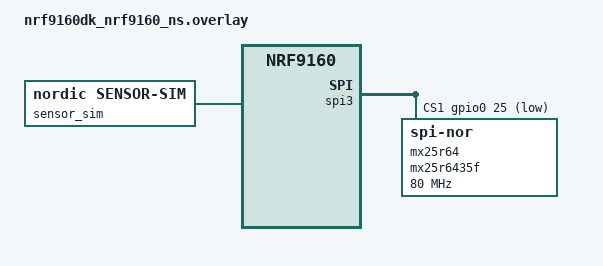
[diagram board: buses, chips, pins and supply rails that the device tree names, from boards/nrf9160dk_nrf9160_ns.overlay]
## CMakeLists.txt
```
#
# Copyright (c) 2018 Nordic Semiconductor
#
# SPDX-License-Identifier: LicenseRef-Nordic-5-Clause
#

cmake_minimum_required(VERSION 3.20.0)

find_package(Zephyr REQUIRED HINTS $ENV{ZEPHYR_BASE})
project(lwm2m_client)

# NORDIC SDK APP START
target_sources(app PRIVATE src/main.c)
target_sources_ifdef(CONFIG_SHELL app PRIVATE src/shell.c)
zephyr_include_directories(src)
# NORDIC SDK APP END

# Include application events and configuration headers
zephyr_library_include_directories(
  src/lwm2m
  src/ui
  src/ipso
  src/events
  src/sensors
  src/modules
)

# Application sources
add_subdirectory(src/lwm2m)
add_subdirectory(src/ui)
add_subdirectory(src/ipso)
add_subdirectory(src/events)
add_subdirectory(src/sensors)
add_subdirectory(src/modules)
add_subdirectory(src/fota_external)
```

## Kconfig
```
#
# Copyright (c) 2018 Nordic Semiconductor ASA
#
# SPDX-License-Identifier: LicenseRef-Nordic-5-Clause
#

menu "Application sample"

rsource "src/ui/Kconfig"
rsource "src/modules/Kconfig"
rsource "src/lwm2m/Kconfig"
rsource "src/fota_external/Kconfig"
menu "LwM2M objects"
config APP_PUSH_BUTTON
	bool "Enable button(s)"
	select UI_INPUT
	select LWM2M_IPSO_PUSH_BUTTON
	select LWM2M_APP_PUSH_BUTTON


config APP_ONOFF_SWITCH
	bool "Enable switches"
	depends on BOARD_NRF9160DK_NRF9160_NS
	select UI_INPUT
	select LWM2M_IPSO_ONOFF_SWITCH
	select LWM2M_APP_ONOFF_SWITCH


menuconfig APP_LIGHT_CONTROL
	bool "Enable LED(s)"
	select UI_LED
	select LWM2M_IPSO_LIGHT_CONTROL
	select LWM2M_APP_LIGHT_CONTROL

if APP_LIGHT_CONTROL
	rsource "src/ui/Kconfig.ui_led"
endif # APP_LIGHT_CONTROL


menuconfig APP_BUZZER
	bool "Enable buzzer"
	depends on BOARD_THINGY91_NRF9160_NS
	select UI_BUZZER
	select LWM2M_APP_BUZZER


menuconfig APP_LIGHT_SENSOR
	bool "Enable light sensor"
	select LIGHT_SENSOR
	select LWM2M_IPSO_APP_COLOUR_SENSOR
	select LWM2M_APP_LIGHT_SENSOR

if APP_LIGHT_SENSOR
	rsource "src/sensors/Kconfig.light_sensor"
	rsource "src/ipso/Kconfig.ipso_colour_sensor"
endif # APP_LIGHT_SENSOR


menuconfig APP_ENV_SENSOR
	bool "Enable environment sensors"
	select ENVIRONMENT_SENSOR
	help
	  Enables options for enabling temperature, pressure, humidity and gas resistance sensors.

if APP_ENV_SENSOR
rsource "src/sensors/Kconfig.env_sensor"

config APP_TEMP_SENSOR
	bool "Enable temperature sensor"
	select LWM2M_IPSO_TEMP_SENSOR
	select LWM2M_APP_TEMP_SENSOR

config APP_PRESS_SENSOR
	bool "Enable air pressure sensor"
	select LWM2M_IPSO_PRESSURE_SENSOR
	select LWM2M_APP_PRESS_SENSOR

config APP_HUMID_SENSOR
	bool "Enable humidity sensor"
	select LWM2M_IPSO_HUMIDITY_SENSOR
	select LWM2M_APP_HUMID_SENSOR

config APP_GAS_RES_SENSOR
	bool "Enable gas resistance sensor"
	select LWM2M_IPSO_GENERIC_SENSOR
	select LWM2M_APP_GAS_RES_SENSOR
endif # APP_ENV_SENSOR


menuconfig APP_ACCELEROMETER
	bool "Enable accelerometer"
	select ACCELEROMETER
	select LWM2M_IPSO_ACCELEROMETER
	select LWM2M_APP_ACCELEROMETER

if APP_ACCELEROMETER
	rsource "src/sensors/Kconfig.accelerometer"
endif # APP_ACCELEROMETER

menuconfig APP_GNSS
	bool "Enable GNSS"
	select GNSS
	select LWM2M_LOCATION_OBJ_SUPPORT

if APP_GNSS
	rsource "src/sensors/Kconfig.gnss"
endif # APP_GNSS

endmenu # LwM2M objects

config APP_LWM2M_PSK
	string "LwM2M pre-shared key for communication"
	default "000102030405060708090a0b0c0d0e0f"
	help
	  Pre Shared Key must be identical to the PSK registered with the device on the LwM2M server.
	  Use the hexadecimal representation.

config APP_ENDPOINT_PREFIX
	string "Prefix used in the endpoint name"
	default "urn:imei:"
	help
	  Sets the prefix of the endpoint name used when connecting to the LwM2M server.
menu "Device info"
config APP_MANUFACTURER
	string "Board manufacturer"
	default	"Nordic Semiconductor ASA"

config APP_DEVICE_TYPE
	string "Device type"
	default	"OMA-LWM2M Client"
endmenu

config APP_CUSTOM_VERSION
	string "Application version. Leave empty to use NCS version"

config APP_NEIGHBOUR_CELL_SCAN_INTERVAL
	int "Interval time [s] between neighbour cell scans"
	depends on LWM2M_CLIENT_UTILS_SIGNAL_MEAS_INFO_OBJ_SUPPORT
	default 600
	help
	  Low value on interval may reduce the performance of the system.

config APP_LWM2M_CONFORMANCE_TESTING
	bool "Send test payload periodically"
	help
	  Enable functionality that uses LwM2M SEND operation to deliver test payload.
	  This allows testing of SEND operation itself as well as "mute-send" resource.

module=APP
module-str=Sample
source "$(ZEPHYR_BASE)/subsys/logging/Kconfig.template.log_config"
endmenu # Application sample


if BUILD_WITH_TFM

choice TFM_PROFILE_TYPE
	default TFM_PROFILE_TYPE_MINIMAL
endchoice

configdefault TFM_LOG_LEVEL_SILENCE
	default y

endif # BUILD_WITH_TFM

menu "Zephyr Kernel"
source "Kconfig.zephyr"
endmenu # Zephyr Kernel
```

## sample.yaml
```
sample:
  name: Cellular LwM2M client sample
tests:
  sample.cellular.lwm2m_client:
    sysbuild: true
    build_only: true
    integration_platforms:
      - nrf9151dk/nrf9151/ns
    platform_allow:
      - nrf9151dk/nrf9151/ns
      - thingy91x/nrf9151/ns
    tags:
      - ci_build
      - sysbuild
      - ci_samples_cellular
  sample.cellular.lwm2m_client.pgps:
    sysbuild: true
    build_only: true
    extra_args:
      - EXTRA_CONF_FILE="overlay-avsystem.conf;overlay-assist-pgps.conf"
      - EXTRA_DTC_OVERLAY_FILE=overlay-assist-pgps.overlay
    integration_platforms:
      - nrf9151dk/nrf9151/ns
    platform_allow:
      - nrf9151dk/nrf9151/ns
    tags:
      - ci_build
      - sysbuild
      - ci_samples_cellular
```

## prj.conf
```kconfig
#
# Copyright (c) 2020 Nordic Semiconductor ASA
#
# SPDX-License-Identifier: LicenseRef-Nordic-5-Clause
#

# Decrease buffer to make full modem fota work with minimal TF-M.
# Ineffective here: unsatisfied dependencies NRF_CLOUD_FOTA_FULL_MODEM_UPDATE, NRF_CLOUD, so
# NRF_CLOUD_FOTA_FULL_MODEM_UPDATE_BUF_SIZE stays unset.
# CONFIG_NRF_CLOUD_FOTA_FULL_MODEM_UPDATE_BUF_SIZE=1024

# General config
CONFIG_ASSERT=y
CONFIG_REBOOT=y

# Network
CONFIG_NETWORKING=y
CONFIG_NET_NATIVE=n
CONFIG_NET_IPV6=n
CONFIG_NET_IPV4=y
CONFIG_NET_SOCKETS=y
CONFIG_NET_SOCKETS_OFFLOAD=y
# Ineffective here: unsatisfied dependency POSIX_SYSTEM_INTERFACES, so XSI_SINGLE_PROCESS stays n.
# CONFIG_XSI_SINGLE_PROCESS=y

# Sensors
CONFIG_SPI=y
CONFIG_SENSOR=y

# LwM2M and IPSO
CONFIG_LWM2M=y
CONFIG_LWM2M_COAP_BLOCK_SIZE=512
CONFIG_LWM2M_COAP_MAX_MSG_SIZE=1280
CONFIG_LWM2M_ENGINE_MAX_OBSERVER=15
CONFIG_LWM2M_ENGINE_MAX_MESSAGES=15
CONFIG_LWM2M_ENGINE_MAX_PENDING=15
CONFIG_LWM2M_ENGINE_MAX_REPLIES=15
CONFIG_LWM2M_DNS_SUPPORT=y
CONFIG_LWM2M_RW_JSON_SUPPORT=n
CONFIG_LWM2M_SERVER_DEFAULT_PMIN=1
CONFIG_LWM2M_SERVER_DEFAULT_PMAX=300
CONFIG_LWM2M_CLIENT_UTILS=y
CONFIG_LWM2M_CLIENT_UTILS_LOCATION_OBJ_SUPPORT=n
CONFIG_LWM2M_IPSO_SUPPORT=y

# DTLS settings
CONFIG_LWM2M_DTLS_SUPPORT=y

# Modem key management
CONFIG_MODEM_KEY_MGMT=y

# Default app to debug logging
CONFIG_LOG=y
CONFIG_APP_LOG_LEVEL_DBG=y

# Support HEX style PSK values (double the size + NULL char)
CONFIG_LWM2M_SECURITY_KEY_SIZE=33

# extend CoAP retry timing to 4 seconds for LTE/LTE-M
CONFIG_COAP_INIT_ACK_TIMEOUT_MS=4000

# Enable CoAP extended option length
CONFIG_COAP_EXTENDED_OPTIONS_LEN=y
CONFIG_COAP_EXTENDED_OPTIONS_LEN_VALUE=40

# Enable settings storage
CONFIG_SETTINGS=y
CONFIG_FCB=y
CONFIG_SETTINGS_FCB=y
CONFIG_FLASH_MAP=y
CONFIG_STREAM_FLASH=y

# LTE link control
CONFIG_LTE_LINK_CONTROL=y
CONFIG_LTE_NETWORK_MODE_LTE_M_GPS=y

# Modem library
CONFIG_NRF_MODEM_LIB=y

# Modem info
CONFIG_MODEM_INFO=y
CONFIG_MODEM_INFO_ADD_DATE_TIME=n

# Enable shell
CONFIG_LWM2M_SHELL=y

# Heap and stacks
CONFIG_HEAP_MEM_POOL_SIZE=16384
CONFIG_MAIN_STACK_SIZE=4096
CONFIG_LWM2M_ENGINE_STACK_SIZE=3072
CONFIG_SYSTEM_WORKQUEUE_STACK_SIZE=2048
CONFIG_AT_MONITOR_HEAP_SIZE=512

# Allow FOTA downloads using download-client
CONFIG_DOWNLOADER=y
CONFIG_DOWNLOADER_STACK_SIZE=4096
CONFIG_FOTA_DOWNLOAD=y
CONFIG_DOWNLOADER_TRANSPORT_COAP=y

# Application version
CONFIG_MCUBOOT_IMGTOOL_SIGN_VERSION="1.0.0"

# Set LwM2M Server IP address here
CONFIG_LWM2M_CLIENT_UTILS_SERVER="coaps://leshan.eclipseprojects.io:5684"

# Application Event Manager
CONFIG_APP_EVENT_MANAGER=y

# Date-Time library
CONFIG_DATE_TIME=y
CONFIG_DATE_TIME_UPDATE_INTERVAL_SECONDS=86400

# Enable LwM2M Queue Mode
CONFIG_LWM2M_QUEUE_MODE_ENABLED=y

# Use DTLS Connection ID
CONFIG_LWM2M_DTLS_CID=y

# When DTLS CID is used, we can keep the socket open.
# If the server is not supporting CID, CONFIG_LWM2M_RD_CLIENT_SUSPEND_SOCKET_AT_IDLE should
# be used instead.
CONFIG_LWM2M_RD_CLIENT_STOP_POLLING_AT_IDLE=y

# Enable TLS session caching to prevent doing a full TLS handshake when recovering the session
CONFIG_LWM2M_TLS_SESSION_CACHING=y

# Sets the duration that the lwm2m engine will be polling for data after transmission before
# the socket is closed.
# Adjust so that we can detach from network in 30 seconds
CONFIG_LWM2M_QUEUE_MODE_UPTIME=30

# Set lifetime of 12 hours
CONFIG_LWM2M_ENGINE_DEFAULT_LIFETIME=43200

# Do registration update after 5400 seconds (90 minutes)
CONFIG_LWM2M_UPDATE_PERIOD=5400
CONFIG_LWM2M_SECONDS_TO_UPDATE_EARLY=60

# Configure PSM mode
CONFIG_LTE_LC_PSM_MODULE=y
CONFIG_LTE_PSM_REQ=y
# Request periodic TAU of 12 hours (same as lifetime)
CONFIG_LTE_PSM_REQ_RPTAU="00101100"

# Set Requested Active Time (RAT) to 30 seconds. Preferably same as the
# configured LWM2M_QUEUE_MODE_UPTIME. Due to NAT/firewall UDP connections are usually
# closed within 30-60 seconds so there is in general no point in setting a longer
# Queue mode uptime / LTE PSM active time.
CONFIG_LTE_PSM_REQ_RAT="00001111"

# Request eDRX mode
CONFIG_LTE_LC_EDRX_MODULE=y
CONFIG_LTE_EDRX_REQ=y

# Requested eDRX cycle length for LTE-M and Nb-IoT
# This should be fine-tuned for the network and the chosen server.
# Lowest value is  the most responsive, but uses more energy during the active eDRX period.
# Longer period may cause more CoAP packet drops on server requests.
# "0000" is 5.12 s
# "0001" is 10.24 s
# "0010" is 20.48 s.
CONFIG_LTE_EDRX_REQ_VALUE_LTE_M="0000"
CONFIG_LTE_EDRX_REQ_VALUE_NBIOT="0000"

# Request Paging time window of 1.28 seconds for LTE-M
CONFIG_LTE_PTW_VALUE_LTE_M="0000"

# Request Paging time window of 2.56 seconds for NB-IoT
CONFIG_LTE_PTW_VALUE_NBIOT="0000"

# Get notification before Tracking Area Update (TAU). Notification triggers registration
# update and TAU will be sent with the update which decreases power consumption.
CONFIG_LTE_LC_TAU_PRE_WARNING_MODULE=y
CONFIG_LTE_LC_TAU_PRE_WARNING_NOTIFICATIONS=y

# Optimize powersaving by using tickless mode in LwM2M engine
CONFIG_NET_SOCKETPAIR=y
CONFIG_LWM2M_TICKLESS=y
# Enable Release Assistance Indication
CONFIG_LWM2M_CLIENT_UTILS_RAI=y

# Enable Zephyr's ZVFS event file descriptor
CONFIG_ZVFS_EVENTFD=y
CONFIG_ZVFS_EVENTFD_MAX=2
```

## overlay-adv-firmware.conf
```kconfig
CONFIG_LWM2M_CLIENT_UTILS=y
CONFIG_LWM2M_CLIENT_UTILS_ADV_FIRMWARE_UPDATE_OBJ_SUPPORT=y
CONFIG_LWM2M_CLIENT_UTILS_FIRMWARE_UPDATE_OBJ_SUPPORT=y
CONFIG_LWM2M_FIRMWARE_UPDATE_OBJ_SUPPORT=n
CONFIG_FOTA_CLIENT_AUTOSCHEDULE_UPDATE=n
CONFIG_LWM2M_RW_OMA_TLV_SUPPORT=y
```

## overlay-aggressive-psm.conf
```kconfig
# Sets the duration that the lwm2m engine will be polling for data after transmission before
# the socket is closed.
# Adjust so that we can detach from network in 10 seconds
CONFIG_LWM2M_QUEUE_MODE_UPTIME=10

# Configure PSM mode
# Request periodic TAU of 12 hours
CONFIG_LTE_PSM_REQ_RPTAU="00101100"

# Disable eDRX mode for requesting shorter Request active timer than 10.24s
CONFIG_LTE_EDRX_REQ=n

# Set Requested Active Time (RAT) to 10 seconds.
CONFIG_LTE_PSM_REQ_RAT="00000101"

# Enable PSM mode even when network would not allow it.
# This requires modem firmware v2.x.
CONFIG_LTE_LC_PSM_MODULE=y
CONFIG_LTE_PROPRIETARY_PSM_REQ=y

# Enable Sleep event's from modem for indicate sleep
CONFIG_LTE_LC_MODEM_SLEEP_MODULE=y
CONFIG_LTE_LC_MODEM_SLEEP_NOTIFICATIONS=y
```

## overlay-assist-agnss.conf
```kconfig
CONFIG_PICOLIBC_IO_FLOAT=y
#LwM2M Client utility library options
CONFIG_LWM2M_CLIENT_UTILS_GNSS_ASSIST_OBJ_SUPPORT=y
CONFIG_LWM2M_CLIENT_UTILS_LOCATION_ASSIST_AGNSS=y
#A-GNSS library options
CONFIG_NRF_CLOUD=y
CONFIG_NRF_CLOUD_AGNSS=y
#Enable LwM2M 1.1
CONFIG_LWM2M_VERSION_1_1=y
CONFIG_LWM2M_COMPOSITE_PATH_LIST_SIZE=10
#Enable SenML-CBOR content format
CONFIG_LWM2M_RW_SENML_CBOR_SUPPORT=y
CONFIG_ZCBOR=y
CONFIG_ZCBOR_CANONICAL=y
CONFIG_LWM2M_RW_SENML_CBOR_RECORDS=35
# AVSystem CDM-665 workaround: force object version reporting.
CONFIG_LWM2M_CONNMON_OBJECT_VERSION_1_3=y
```

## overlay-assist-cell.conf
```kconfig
CONFIG_PICOLIBC_IO_FLOAT=y
#LwM2M Client utility library options
CONFIG_LWM2M_CLIENT_UTILS_GROUND_FIX_OBJ_SUPPORT=y
CONFIG_LWM2M_CLIENT_UTILS_LOCATION_ASSIST_CELL=y
CONFIG_LWM2M_CLIENT_UTILS_NEIGHBOUR_CELL_LISTENER=y
#Enable LwM2M 1.1
CONFIG_LWM2M_VERSION_1_1=y
CONFIG_LWM2M_COMPOSITE_PATH_LIST_SIZE=10
#Enable SenML-CBOR content format
CONFIG_LWM2M_RW_SENML_CBOR_SUPPORT=y
CONFIG_ZCBOR=y
CONFIG_ZCBOR_CANONICAL=y
CONFIG_LWM2M_RW_SENML_CBOR_RECORDS=35

# AVSystem CDM-665 workaround: force object version reporting.
CONFIG_LWM2M_CONNMON_OBJECT_VERSION_1_3=y
```

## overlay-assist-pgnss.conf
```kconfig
CONFIG_PICOLIBC_IO_FLOAT=y
#LwM2M Client utility library options
CONFIG_LWM2M_CLIENT_UTILS_GNSS_ASSIST_OBJ_SUPPORT=y
CONFIG_LWM2M_CLIENT_UTILS_LOCATION_ASSIST_PGNSS=y
CONFIG_LWM2M_CLIENT_UTILS_LOCATION_ASSIST_PGNSS_PREDICTION_COUNT=8
#PGNSS library options
CONFIG_NRF_CLOUD=y
CONFIG_NRF_CLOUD_PGNSS=y
CONFIG_NRF_CLOUD_PGNSS_TRANSPORT_NONE=y
CONFIG_NRF_CLOUD_PGNSS_DOWNLOAD_TRANSPORT_CUSTOM=y
#Enable LwM2M 1.1
CONFIG_LWM2M_VERSION_1_1=y
CONFIG_LWM2M_COMPOSITE_PATH_LIST_SIZE=10
#Enable SenML-CBOR content format
CONFIG_LWM2M_RW_SENML_CBOR_SUPPORT=y
CONFIG_ZCBOR=y
CONFIG_ZCBOR_CANONICAL=y
CONFIG_LWM2M_RW_SENML_CBOR_RECORDS=35
# AVSystem CDM-665 workaround: force object version reporting.
CONFIG_LWM2M_CONNMON_OBJECT_VERSION_1_3=y
```

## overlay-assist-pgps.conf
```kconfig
CONFIG_PICOLIBC_IO_FLOAT=y
#LwM2M Client utility library options
CONFIG_LWM2M_CLIENT_UTILS_GNSS_ASSIST_OBJ_SUPPORT=y
CONFIG_LWM2M_CLIENT_UTILS_LOCATION_ASSIST_PGPS=y
CONFIG_LWM2M_CLIENT_UTILS_LOCATION_ASSIST_PGPS_PREDICTION_COUNT=8
#PGPS library options
CONFIG_NRF_CLOUD=y
CONFIG_NRF_CLOUD_PGPS=y
CONFIG_NRF_CLOUD_PGPS_TRANSPORT_NONE=y
CONFIG_NRF_CLOUD_PGPS_DOWNLOAD_TRANSPORT_CUSTOM=y
# App handles requests via PGPS_EVT_REQUEST; auto-request on init is redundant.
CONFIG_NRF_CLOUD_PGPS_REQUEST_UPON_INIT=n
# Align NUM_PREDICTIONS with PREDICTION_COUNT to avoid over-allocating the flash partition.
# Default NUM_PREDICTIONS=40 would reserve 84KB; 8 predictions only need 16KB.
CONFIG_NRF_CLOUD_PGPS_NUM_PREDICTIONS=8
#Enable LwM2M 1.1
CONFIG_LWM2M_VERSION_1_1=y
CONFIG_LWM2M_COMPOSITE_PATH_LIST_SIZE=10
#Enable SenML-CBOR content format
CONFIG_LWM2M_RW_SENML_CBOR_SUPPORT=y
CONFIG_ZCBOR=y
CONFIG_ZCBOR_CANONICAL=y
CONFIG_LWM2M_RW_SENML_CBOR_RECORDS=35
# AVSystem CDM-665 workaround: force object version reporting.
CONFIG_LWM2M_CONNMON_OBJECT_VERSION_1_3=y
```

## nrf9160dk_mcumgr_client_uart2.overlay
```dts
/*
 * Copyright (c) 2023 Nordic Semiconductor ASA
 *
 * SPDX-License-Identifier: LicenseRef-Nordic-5-Clause
 */

/* Generic PIN definition for UART2 or UART1 to nRF52840  */
&pinctrl {
	mcumgr_uart_default: mcumgr_uart_default {
		group1 {
			psels = <NRF_PSEL(UART_TX, 0, 23)>,
				<NRF_PSEL(UART_RTS, 0, 17)>;
		};

		group2 {
			psels = <NRF_PSEL(UART_RX, 0, 21)>,
				<NRF_PSEL(UART_CTS, 0, 22)>;
			bias-pull-up;
		};
	};

	mcumgr_uart_sleep: mcumgr_uart_sleep {
		group1 {
			psels = <NRF_PSEL(UART_TX, 0, 23)>,
				<NRF_PSEL(UART_RX, 0, 21)>,
				<NRF_PSEL(UART_RTS, 0, 17)>,
				<NRF_PSEL(UART_CTS, 0, 22)>;
			low-power-enable;
		};
	};
};

&uart2 {
	compatible = "nordic,nrf-uarte";
	current-speed = <1000000>;
	status = "okay";
	pinctrl-0 = <&mcumgr_uart_default>;
	pinctrl-1 = <&mcumgr_uart_sleep>;
	pinctrl-names = "default", "sleep";
	hw-flow-control;
};

/ {
	chosen {
		zephyr,console = &uart0;
		zephyr,shell-uart = &uart0;
		zephyr,uart-mcumgr = &uart2;
	};
};
```

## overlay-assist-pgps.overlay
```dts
/*
 * Copyright (c) 2026 Nordic Semiconductor ASA
 *
 * SPDX-License-Identifier: LicenseRef-Nordic-5-Clause
 */

/*
 * Carve a P-GPS partition out of the 64 kB storage area (0xF0000).
 *
 * Flash layout (storage area):
 *   0x000F_0000  P-GPS partition   (16 kB, 8 predictions × 2 kB)
 *   0x000F_4000  Settings storage  (48 kB)
 */

/ {
	chosen {
		nordic,pgps_partition = &pgps_partition;
		zephyr,settings_partition = &settings_partition;
	};
};

/delete-node/ &storage_partition;

&flash0 {
	partitions {
		storage_partition: partition@f0000 {
			compatible = "zephyr,mapped-partition";
			label = "storage";
			reg = <0x000f0000 0x10000>;
			ranges = <0x0 0x000f0000 0x10000>;
			#address-cells = <1>;
			#size-cells = <1>;

			pgps_partition: partition@0 {
				compatible = "zephyr,mapped-partition";
				label = "pgps";
				reg = <0x00000000 0x4000>;
			};

			settings_partition: partition@4000 {
				compatible = "zephyr,mapped-partition";
				label = "settings-storage";
				reg = <0x00004000 0xc000>;
			};
		};
	};
};

/*
 * This layout redefines the flash partition map, dropping partitions that the
 * upstream nordic-tz-secure/-nonsecure descriptors reference. Remove the
 * descriptors so they do not hold dangling phandles (restores the behaviour
 * from before the descriptors were introduced).
 */
/ {
	/delete-node/ nordic-tz-secure;
	/delete-node/ nordic-tz-nonsecure;
};
```

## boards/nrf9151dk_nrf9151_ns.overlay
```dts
/*
 * Copyright (c) 2024 Nordic Semiconductor ASA
 *
 * SPDX-License-Identifier: LicenseRef-Nordic-5-Clause
 */

#include <samples/cellular/nrf91_bootloader_partitions.dtsi>

#include <samples/cellular/nrf91_sram_partitions.dtsi>

/* External flash device is disabled by default */
&gd25wb256 {
	status = "okay";
};
```

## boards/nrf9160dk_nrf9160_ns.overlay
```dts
/*
 * Copyright (c) 2021 Nordic Semiconductor ASA
 *
 * SPDX-License-Identifier: LicenseRef-Nordic-5-Clause
 */

#include <samples/cellular/nrf91_bootloader_partitions.dtsi>

#include <samples/cellular/nrf91_sram_partitions.dtsi>

/ {
	sensor_sim: sensor-sim {
		compatible = "nordic,sensor-sim";
		acc-signal = "wave";
	};
};

&spi3 {
	cs-gpios = <&arduino_header 16 GPIO_ACTIVE_LOW>, /* D10 */
		   <&gpio0 25 GPIO_ACTIVE_LOW>;

	mx25r64: mx25r6435f@1 {
		compatible = "jedec,spi-nor";
		reg = <1>;
		status = "okay";
		spi-max-frequency = <80000000>;
		jedec-id = [c2 28 17];
		size = <67108864>;
	};
};
```

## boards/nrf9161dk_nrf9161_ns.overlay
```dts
/*
 * Copyright (c) 2023 Nordic Semiconductor ASA
 *
 * SPDX-License-Identifier: LicenseRef-Nordic-5-Clause
 */

/* External flash device is disabled by default */
&gd25wb256 {
	status = "okay";
};
```

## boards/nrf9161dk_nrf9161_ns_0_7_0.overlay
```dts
/*
 * Copyright (c) 2023 Nordic Semiconductor ASA
 *
 * SPDX-License-Identifier: LicenseRef-Nordic-5-Clause
 */

#include <samples/cellular/nrf91_bootloader_partitions.dtsi>

#include <samples/cellular/nrf91_sram_partitions.dtsi>

/delete-node/ &gd25wb256;

&gd25lb256 {
	status = "okay";
};
```

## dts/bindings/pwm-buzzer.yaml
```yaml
# Copyright (c) 2022 Nordic Semiconductor
#
# SPDX-License-Identifier: LicenseRef-Nordic-5-Clause

description: |
    This is a representation of a buzzer controlled by a PWM signal. Example
    usage:

      buzzer {
        compatible = "pwm-buzzer";
        pwms = <&pwm0 0 PWM_HZ(440) PWM_POLARITY_NORMAL>;
      };

compatible: "pwm-buzzer"

include: base.yaml

properties:
  pwms:
    type: phandle-array
    required: true
```

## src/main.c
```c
/*
 * Copyright (c) 2019 Nordic Semiconductor ASA
 *
 * SPDX-License-Identifier: LicenseRef-Nordic-5-Clause
 */

#include <zephyr/kernel.h>
#include <ctype.h>
#include <zephyr/drivers/gpio.h>
#include <stdio.h>
#include <zephyr/net/lwm2m.h>
#include <modem/nrf_modem_lib.h>
#include <net/lwm2m_client_utils.h>
#include <app_event_manager.h>
#include <net/lwm2m_client_utils_location.h>
#include <date_time.h>

#include <zephyr/logging/log.h>
LOG_MODULE_REGISTER(app_lwm2m_client, CONFIG_APP_LOG_LEVEL);

#include <modem/lte_lc.h>
#include <modem/modem_info.h>
#include <nrf_modem_at.h>

#include "lwm2m_client_app.h"
#include "lwm2m_app_utils.h"
#include "gnss_module.h"
#include "location_events.h"

#include <zephyr/device.h>
#include <zephyr/devicetree.h>

#if defined(CONFIG_APP_SMP_CLIENT_FOTA_EXTERNAL)
#include "fota_app_external.h"
#endif

#if defined(CONFIG_LWM2M_CLIENT_UTILS_LOCATION_ASSISTANCE)
#include "ui_input.h"
#include "ui_input_event.h"
#endif

#if !defined(CONFIG_LTE_LINK_CONTROL)
#error "Missing CONFIG_LTE_LINK_CONTROL"
#endif

#define APP_BANNER "Run LWM2M client"

#define IMEI_LEN 15
#define ENDPOINT_NAME_LEN (IMEI_LEN + sizeof(CONFIG_APP_ENDPOINT_PREFIX) + 1)

#define LWM2M_SECURITY_PRE_SHARED_KEY 0
#define LWM2M_SECURITY_RAW_PUBLIC_KEY 1
#define LWM2M_SECURITY_CERTIFICATE 2
#define LWM2M_SECURITY_NO_SEC 3

#define CONNEVAL_MAX_DELAY_S 60
#define CONNEVAL_POLL_PERIOD_MS 5000

/* Client State Machine states */
static enum client_state {
	START,		/* Start Connection to a server */
	CONNECTING,	/* LwM2M engine is connecting to server */
	BOOTSTRAP,	/* LwM2M engine is doing a bootstrap */
	CONNECTED,	/* LwM2M Client connection establisment to server */
	LTE_OFFLINE,	/* LTE offline and LwM2M engine should be suspended */
	UPDATE_FIRMWARE, /* Prepare app ready for firmware update */
	RECONNECT_AFTER_UPDATE, /* Reconnect client after modem update */
	NETWORK_ERROR	/* Client network error handling. Client stop and modem reset */
} client_state = START;

static uint8_t endpoint_name[ENDPOINT_NAME_LEN + 1];
static uint8_t imei_buf[IMEI_LEN + sizeof("\r\nOK\r\n")];
static struct lwm2m_ctx client = {0};
static bool reconnect;
static K_SEM_DEFINE(state_mutex, 0, 1);
static K_MUTEX_DEFINE(lte_mutex);
static bool modem_connected_to_network;
/* Enable session lifetime check for initial boot */
static bool update_session_lifetime = true;
static bool ready_for_firmware_update;

static void rd_client_event(struct lwm2m_ctx *client, enum lwm2m_rd_client_event client_event);
static void state_trigger_and_unlock(enum client_state new_state);

void client_acknowledge(void)
{
	lwm2m_acknowledge(&client);
}

#if defined(CONFIG_LWM2M_CLIENT_UTILS_SIGNAL_MEAS_INFO_OBJ_SUPPORT)
static struct k_work_delayable ncell_meas_work;
void ncell_meas_work_handler(struct k_work *work)
{
	lwm2m_ncell_schedule_measurement();
	k_work_schedule(&ncell_meas_work, K_SECONDS(CONFIG_APP_NEIGHBOUR_CELL_SCAN_INTERVAL));
}
#endif
#if defined(CONFIG_LWM2M_CLIENT_UTILS_VISIBLE_WIFI_AP_OBJ_SUPPORT)
static struct k_work_delayable ground_fix_work;
void ground_fix_work_handler(struct k_work *work)
{
	LOG_INF("Send ground fix location request event");
	struct ground_fix_location_request_event *ground_fix_event =
	new_ground_fix_location_request_event();

	APP_EVENT_SUBMIT(ground_fix_event);
}
#endif

#if defined(CONFIG_LWM2M_CLIENT_UTILS_LOCATION_ASSISTANCE)
static bool button_callback(const struct app_event_header *aeh)
{
	if (is_ui_input_event(aeh)) {
		struct ui_input_event *event = cast_ui_input_event(aeh);

		if (event->type != PUSH_BUTTON || event->state == 0) {
			return false;
		}

		switch (event->device_number) {
		case 1:
#if defined(CONFIG_LWM2M_CLIENT_UTILS_LOCATION_ASSIST_AGNSS) || \
defined(CONFIG_LWM2M_CLIENT_UTILS_LOCATION_ASSIST_PGPS)
			LOG_INF("Starting GNSS");
			start_gnss();
#else
			LOG_INF("A-GNSS not enabled");
#endif
			break;
		case 2:
#if defined(CONFIG_LWM2M_CLIENT_UTILS_GROUND_FIX_OBJ_SUPPORT)
			LOG_INF("Send cell location request event");
			struct ground_fix_location_request_event *ground_fix_event =
				new_ground_fix_location_request_event();

			APP_EVENT_SUBMIT(ground_fix_event);
#else
			LOG_INF("Ground fix location not enabled");
#endif
			break;
		}
	}
	return false;
}


APP_EVENT_LISTENER(app_lwm2m_client, button_callback);
APP_EVENT_SUBSCRIBE(app_lwm2m_client, ui_input_event);
#endif

#if defined(CONFIG_APP_LWM2M_CONFORMANCE_TESTING)
static struct k_work_delayable send_periodical_work;
static uint8_t send_count = 0;

static int server_send_mute_cb(uint16_t obj_inst_id, uint16_t res_id, uint16_t res_inst_id, uint8_t *data,
			uint16_t data_len, bool last_block, size_t total_size, size_t offset)
{
	if (*data) {
		LOG_INF("Server Muted Send");
	} else {

		if (send_count == 0) {
			LOG_INF("Server Activate Send");
			send_count = 5;
			k_work_schedule(&send_periodical_work, K_SECONDS(1));
		}
	}

	return 0;
}

static void lwm2m_register_server_send_mute_cb(void)
{
	int ret;
	lwm2m_engine_set_data_cb_t cb;

	cb = server_send_mute_cb;
	ret = lwm2m_register_post_write_callback(&LWM2M_OBJ(1, client.srv_obj_inst, 23), cb);
	if (ret) {
		LOG_ERR("Send enable CB fail %d", ret);
	}
}

void send_periodically_work_handler(struct k_work *work)
{
	int ret;
	const struct lwm2m_obj_path send_path[4] = {
		LWM2M_OBJ(3, 0, 0),
		LWM2M_OBJ(3, 0, 3),
		LWM2M_OBJ(3, 0, 13),
		LWM2M_OBJ(3, 0, 19),
	};

	/* lwm2m send post to server */
	ret = lwm2m_send_cb(&client, send_path, 4, NULL);
	if (ret) {
		if (ret == EPERM) {
			LOG_INF("Server Mute send block send operation");
		} else {
			LOG_INF("Periodically SEND test data fail %d", ret);
		}
	}

	if (send_count) {
		if (ret == 0) {
			send_count--;
		}

		k_work_schedule(&send_periodical_work, K_SECONDS(15));
	}
}
#endif

static void state_trigger_and_unlock(enum client_state new_state)
{
	if (new_state != client_state) {
		client_state = new_state;
		k_sem_give(&state_mutex);
	}
	k_mutex_unlock(&lte_mutex);
}

#if defined(CONFIG_LWM2M_CLIENT_UTILS_FIRMWARE_UPDATE_OBJ_SUPPORT)
static int lwm2m_firmware_event_cb(struct lwm2m_fota_event *event)
{
	k_mutex_lock(&lte_mutex, K_FOREVER);
	switch (event->id) {
	case LWM2M_FOTA_DOWNLOAD_START:
		ready_for_firmware_update = false;
		LOG_INF("FOTA download started for instance %d", event->download_start.obj_inst_id);
		break;
	/** FOTA download process finished */
	case LWM2M_FOTA_DOWNLOAD_FINISHED:
		LOG_INF("FOTA download ready for instance %d, dfu_type %d",
			event->download_ready.obj_inst_id, event->download_ready.dfu_type);
		break;
	/** FOTA update new image */
	case LWM2M_FOTA_UPDATE_IMAGE_REQ:
		if (!ready_for_firmware_update && event->update_req.obj_inst_id < 2) {
			state_trigger_and_unlock(UPDATE_FIRMWARE);
			/* Postpone request by 2 seconds */
			return 2;
		}
		LOG_INF("FOTA Update request for instance %d", event->update_req.obj_inst_id);

		break;
	case LWM2M_FOTA_UPDATE_MODEM_RECONNECT_REQ:
		ready_for_firmware_update = false;
		state_trigger_and_unlock(RECONNECT_AFTER_UPDATE);
		/* Indicate that app can support Modem Reconnect */
		return 0;
	/** Fota process fail or cancelled  */
	case LWM2M_FOTA_UPDATE_ERROR:
		ready_for_firmware_update = false;
		LOG_INF("FOTA failure %d by status %d", event->failure.obj_inst_id,
			event->failure.update_failure);
		break;
	}
	k_mutex_unlock(&lte_mutex);
	return 0;
}
#endif

static int lwm2m_setup(void)
{
	/* Save power by not updating timestamp on device object */
	lwm2m_update_device_service_period(0);

	/* Manufacturer dependent */
	/* use IMEI as serial number */
	lwm2m_app_init_device(imei_buf);
	lwm2m_init_security(&client, endpoint_name, NULL);

	if (sizeof(CONFIG_APP_LWM2M_PSK) > 1) {
		/* Write hard-coded PSK key to engine */
		/* First security instance is the right one, because in bootstrap mode, */
		/* it is the bootstrap PSK. In normal mode, it is the server key */
		lwm2m_security_set_psk(0, CONFIG_APP_LWM2M_PSK, sizeof(CONFIG_APP_LWM2M_PSK), true,
				       endpoint_name);
	}

#if defined(CONFIG_LWM2M_CLIENT_UTILS_FIRMWARE_UPDATE_OBJ_SUPPORT)
	lwm2m_init_firmware_cb(lwm2m_firmware_event_cb);
#endif
#if defined(CONFIG_LWM2M_CLIENT_UTILS_LOCATION_ASSISTANCE)
	location_event_handler_init(&client);
	location_assistance_retry_init(true);
#endif
	if (IS_ENABLED(CONFIG_LTE_LC_TAU_PRE_WARNING_NOTIFICATIONS) ||
	    IS_ENABLED(CONFIG_LWM2M_CLIENT_UTILS_NEIGHBOUR_CELL_LISTENER)) {
		lwm2m_ncell_handler_register();
	}

	return 0;
}

static void date_time_event_handler(const struct date_time_evt *evt)
{
	switch (evt->type) {
	case DATE_TIME_OBTAINED_MODEM: {
		int64_t time = 0;

		LOG_INF("Obtained date-time from modem");
		date_time_now(&time);
		lwm2m_set_s32(&LWM2M_OBJ(LWM2M_OBJECT_DEVICE_ID, 0, DEVICE_CURRENT_TIME_RID),
				     (int32_t)(time / 1000));
		break;
	}

	case DATE_TIME_OBTAINED_NTP: {
		int64_t time = 0;

		LOG_INF("Obtained date-time from NTP server");
		date_time_now(&time);
		lwm2m_set_s32(&LWM2M_OBJ(LWM2M_OBJECT_DEVICE_ID, 0, DEVICE_CURRENT_TIME_RID),
				     (int32_t)(time / 1000));
		break;
	}

	case DATE_TIME_NOT_OBTAINED:
		LOG_INF("Could not obtain date-time update");
		break;

	default:
		break;
	}
}

static void rd_client_update_lifetime(int srv_obj_inst)
{
	uint32_t current_lifetime = 0;

	uint32_t lifetime = CONFIG_LWM2M_ENGINE_DEFAULT_LIFETIME;

	struct lwm2m_obj_path path = LWM2M_OBJ(1, srv_obj_inst, 1);

	lwm2m_get_u32(&path, &current_lifetime);

	if (current_lifetime != lifetime) {
		/* SET Configured value */
		lwm2m_set_u32(&path, lifetime);
		LOG_DBG("Update session lifetime from %d to %d", current_lifetime, lifetime);
	}
	update_session_lifetime = false;
}

static void state_set_and_unlock(enum client_state new_state)
{
	client_state = new_state;
	k_mutex_unlock(&lte_mutex);
}

static void rd_client_event(struct lwm2m_ctx *client, enum lwm2m_rd_client_event client_event)
{
	k_mutex_lock(&lte_mutex, K_FOREVER);

	if (client_state == LTE_OFFLINE && client_event != LWM2M_RD_CLIENT_EVENT_ENGINE_SUSPENDED) {
		LOG_DBG("Drop network event %d at LTE offline state", client_event);
		k_mutex_unlock(&lte_mutex);
		return;
	}

	lwm2m_utils_connection_manage(client, &client_event);

	switch (client_event) {
	case LWM2M_RD_CLIENT_EVENT_SERVER_DISABLED:
	case LWM2M_RD_CLIENT_EVENT_DEREGISTER:
	case LWM2M_RD_CLIENT_EVENT_NONE:
		/* do nothing */
		k_mutex_unlock(&lte_mutex);
		break;

	case LWM2M_RD_CLIENT_EVENT_BOOTSTRAP_REG_FAILURE:
		LOG_DBG("Bootstrap registration failure!");
		state_trigger_and_unlock(NETWORK_ERROR);
		break;

	case LWM2M_RD_CLIENT_EVENT_BOOTSTRAP_REG_COMPLETE:
		LOG_DBG("Bootstrap registration complete");
		update_session_lifetime = true;
		state_trigger_and_unlock(BOOTSTRAP);
		break;

	case LWM2M_RD_CLIENT_EVENT_BOOTSTRAP_TRANSFER_COMPLETE:
		LOG_DBG("Bootstrap transfer complete");
		k_mutex_unlock(&lte_mutex);
		break;

	case LWM2M_RD_CLIENT_EVENT_REGISTRATION_FAILURE:
		LOG_WRN("Registration failure!");
		state_trigger_and_unlock(CONNECTING);
		break;

	case LWM2M_RD_CLIENT_EVENT_REGISTRATION_COMPLETE:
		LOG_DBG("Registration complete");
		state_trigger_and_unlock(CONNECTED);
		break;

	case LWM2M_RD_CLIENT_EVENT_REG_TIMEOUT:
		LOG_DBG("Registration update failure!");
		state_trigger_and_unlock(CONNECTING);
		break;

	case LWM2M_RD_CLIENT_EVENT_REG_UPDATE:
		LOG_DBG("Registration update started");
		k_mutex_unlock(&lte_mutex);
		break;

	case LWM2M_RD_CLIENT_EVENT_REG_UPDATE_COMPLETE:
		LOG_DBG("Registration update complete");
		state_trigger_and_unlock(CONNECTED);
		break;

	case LWM2M_RD_CLIENT_EVENT_DEREGISTER_FAILURE:
		LOG_DBG("Deregister failure!");
		if (client_state != UPDATE_FIRMWARE) {
			state_set_and_unlock(START);
		} else {
			k_mutex_unlock(&lte_mutex);
		}
		break;

	case LWM2M_RD_CLIENT_EVENT_DISCONNECT:
		LOG_DBG("Disconnected");
		if (client_state != UPDATE_FIRMWARE && client_state != RECONNECT_AFTER_UPDATE) {
			state_set_and_unlock(START);
		} else {
			k_mutex_unlock(&lte_mutex);
		}
		break;

	case LWM2M_RD_CLIENT_EVENT_QUEUE_MODE_RX_OFF:
		LOG_DBG("Queue mode RX window closed");
		k_mutex_unlock(&lte_mutex);
		break;

	case LWM2M_RD_CLIENT_EVENT_ENGINE_SUSPENDED:
		LOG_DBG("LwM2M engine suspended");
		k_mutex_unlock(&lte_mutex);
		break;

	case LWM2M_RD_CLIENT_EVENT_NETWORK_ERROR:
		LOG_ERR("LwM2M engine reported a network error.");
		reconnect = true;
		state_trigger_and_unlock(NETWORK_ERROR);
		break;
	}
}

static void modem_connect(void)
{
	int ret;

	do {

		LOG_INF("Connecting to network.");
		LOG_INF("This may take several minutes.");

		ret = lte_lc_connect();
		if (ret < 0) {
			LOG_WRN("Failed to establish LTE connection (%d).", ret);
			LOG_WRN("Will retry in a minute.");
			lte_lc_offline();
			k_sleep(K_SECONDS(60));
		} else {
			enum lte_lc_lte_mode mode;

			lte_lc_lte_mode_get(&mode);
			if (mode == LTE_LC_LTE_MODE_NBIOT) {
				LOG_INF("Connected to NB-IoT network");
			} else if (mode == LTE_LC_LTE_MODE_LTEM) {
				LOG_INF("Connected to LTE network");
			} else  {
				LOG_INF("Connected to unknown network");
			}
		}
	} while (ret < 0);

	if (IS_ENABLED(CONFIG_LWM2M_CLIENT_UTILS_LTE_CONNEVAL)) {
		ret = lwm2m_utils_enable_conneval(LTE_LC_ENERGY_CONSUMPTION_NORMAL,
						  CONNEVAL_MAX_DELAY_S, CONNEVAL_POLL_PERIOD_MS);
		if (ret < 0) {
			LOG_ERR("Failed to enable conneval (%d)", ret);
		} else {
			LOG_INF("Conneval enabled");
		}
	}
}

static bool lte_connected(enum lte_lc_nw_reg_status nw_reg_status)
{
	if ((nw_reg_status == LTE_LC_NW_REG_REGISTERED_HOME) ||
	    (nw_reg_status == LTE_LC_NW_REG_REGISTERED_ROAMING)) {
		return true;
	}

	return false;
}

static void lwm2m_lte_reg_handler_notify(enum lte_lc_nw_reg_status nw_reg_status)
{
	bool lte_registered;

	LOG_DBG("LTE NW status: %d", nw_reg_status);
	k_mutex_lock(&lte_mutex, K_FOREVER);
	lte_registered = lte_connected(nw_reg_status);
	if (lte_registered != modem_connected_to_network) {
		modem_connected_to_network = lte_registered;
		if (client_state != START && client_state != BOOTSTRAP &&
		    client_state != UPDATE_FIRMWARE && client_state != RECONNECT_AFTER_UPDATE) {
			k_sem_give(&state_mutex);
		}
	}
	k_mutex_unlock(&lte_mutex);
}

#ifdef CONFIG_LTE_LC_MODEM_SLEEP_NOTIFICATIONS
static void lte_modem_enter_sleep(const struct lte_lc_modem_sleep *event)
{
	switch (event->type) {
	case LTE_LC_MODEM_SLEEP_PSM:
	case LTE_LC_MODEM_SLEEP_PROPRIETARY_PSM:
		LOG_INF("Modem Enter PSM, time %lld", event->time);
		break;
	case LTE_LC_MODEM_SLEEP_RF_INACTIVITY:
		LOG_INF("Modem Enter eDRX state, time %lld", event->time);
		break;
	default:
		break;
	}
}
#endif

static void lte_notify_handler(const struct lte_lc_evt *const evt)
{
	switch (evt->type) {
	case LTE_LC_EVT_NW_REG_STATUS:
		lwm2m_lte_reg_handler_notify(evt->nw_reg_status);
		break;
#ifdef CONFIG_LTE_LC_MODEM_SLEEP_NOTIFICATIONS
	case LTE_LC_EVT_MODEM_SLEEP_ENTER:
		lte_modem_enter_sleep(&evt->modem_sleep);
		break;
#endif
	default:
		break;
	}
}

static void suspend_lwm2m_engine(void)
{
	int ret;

	state_trigger_and_unlock(LTE_OFFLINE);
	ret = lwm2m_engine_pause();
	if (ret) {
		LOG_ERR("LwM2M engine pause fail %d", ret);
		reconnect = true;
		k_mutex_lock(&lte_mutex, K_FOREVER);
		state_trigger_and_unlock(NETWORK_ERROR);
	}
}

int main(void)
{
	int ret;
	uint32_t bootstrap_flags = 0;

	LOG_INF(APP_BANNER);

	ret = nrf_modem_lib_init();
	if (ret < 0) {
		LOG_ERR("Unable to init modem library (%d)", ret);
		return 0;
	}

#if defined(CONFIG_APP_SMP_CLIENT_FOTA_EXTERNAL)
	ret = fota_external_init();
	if (ret < 0) {
		LOG_ERR("Unable to init Fota external client (%d)", ret);
		return 0;
	}
#endif

	ret = app_event_manager_init();
	if (ret) {
		LOG_ERR("Unable to init Application Event Manager (%d)", ret);
		return 0;
	}

	lte_lc_register_handler(lte_notify_handler);

	ret = modem_info_init();
	if (ret < 0) {
		LOG_ERR("Unable to init modem_info (%d)", ret);
		return 0;
	}

	/* query IMEI */
	ret = modem_info_string_get(MODEM_INFO_IMEI, imei_buf, sizeof(imei_buf));
	if (ret < 0) {
		LOG_ERR("Unable to get IMEI");
		return 0;
	}

	/* use IMEI as unique endpoint name */
	snprintk(endpoint_name, sizeof(endpoint_name), "%s%.*s", CONFIG_APP_ENDPOINT_PREFIX,
		 IMEI_LEN, imei_buf);
	LOG_INF("endpoint: %s", (char *)endpoint_name);

	/* Setup LwM2M */
	ret = lwm2m_setup();
	if (ret < 0) {
		LOG_ERR("Failed to setup LWM2M fields (%d)", ret);
		return 0;
	}

	if (IS_ENABLED(CONFIG_LWM2M_CLIENT_UTILS_FIRMWARE_UPDATE_OBJ_SUPPORT)) {
		ret = lwm2m_init_image();
		if (ret < 0) {
			LOG_ERR("Failed to setup image properties (%d)", ret);
			return 0;
		}
	}

	modem_connect();

#if defined(CONFIG_APP_GNSS)
	initialise_gnss();
#endif

#if defined(CONFIG_LWM2M_CLIENT_UTILS_SIGNAL_MEAS_INFO_OBJ_SUPPORT)
	k_work_init_delayable(&ncell_meas_work, ncell_meas_work_handler);
	k_work_schedule(&ncell_meas_work, K_SECONDS(1));
#endif
#if defined(CONFIG_LWM2M_CLIENT_UTILS_VISIBLE_WIFI_AP_OBJ_SUPPORT)
	k_work_init_delayable(&ground_fix_work, ground_fix_work_handler);
	k_work_schedule(&ground_fix_work, K_SECONDS(60));
#if defined(CONFIG_LWM2M_CLIENT_UTILS_WIFI_AP_SCANNER)
	lwm2m_wifi_request_scan();
#endif
#endif
#if defined(CONFIG_APP_LWM2M_CONFORMANCE_TESTING)
	k_work_init_delayable(&send_periodical_work, send_periodically_work_handler);
#endif

	while (true) {
		if (lwm2m_security_needs_bootstrap()) {
			bootstrap_flags = LWM2M_RD_CLIENT_FLAG_BOOTSTRAP;
		} else {
			bootstrap_flags = 0;
		}

		k_mutex_lock(&lte_mutex, K_FOREVER);

		switch (client_state) {
		case START:
			LOG_INF("Client connect to server");
			ret = lwm2m_rd_client_start(&client, endpoint_name, bootstrap_flags,
						    rd_client_event, NULL);
			if (ret) {
				state_trigger_and_unlock(NETWORK_ERROR);
			} else {
				state_trigger_and_unlock(CONNECTING);
			}
			break;

		case BOOTSTRAP:
			state_set_and_unlock(BOOTSTRAP);
			LOG_INF("LwM2M is bootstrapping");
			break;

		case CONNECTING:
			LOG_INF("LwM2M is connecting to server");
			k_mutex_unlock(&lte_mutex);
			break;

		case CONNECTED:
			if (!modem_connected_to_network) {
				/* LTE connection down suspend LwM2M engine */
				suspend_lwm2m_engine();
			} else {
				k_mutex_unlock(&lte_mutex);
				LOG_INF("LwM2M is connected to server");
				if (update_session_lifetime) {
					/* Read a current server  lifetime value */
					rd_client_update_lifetime(client.srv_obj_inst);
				}

#if defined(CONFIG_APP_LWM2M_CONFORMANCE_TESTING)
				lwm2m_register_server_send_mute_cb();
#endif
				/* Get current time and date */
				date_time_update_async(date_time_event_handler);
			}
			break;

		case LTE_OFFLINE:
			if (modem_connected_to_network) {
				state_trigger_and_unlock(CONNECTING);
				LOG_INF("Resume LwM2M engine");
				ret = lwm2m_engine_resume();
				if (ret) {
					LOG_ERR("LwM2M engine Resume fail %d", ret);
				}
			} else {
				LOG_INF("LTE Offline");
				k_mutex_unlock(&lte_mutex);
			}
			break;

		case UPDATE_FIRMWARE:
			LOG_INF("Prepare for Firmware update: Stop client and disable Modem");
			k_mutex_unlock(&lte_mutex);
			lwm2m_rd_client_stop(&client, NULL, false);
			ready_for_firmware_update = true;
			LOG_INF("App ready for firmware update");
			break;

		case RECONNECT_AFTER_UPDATE:
			/* Enable client reconnect */
			LOG_INF("Restart modem and client after an update");
			state_trigger_and_unlock(START);
			modem_connect();
			break;

		case NETWORK_ERROR:
			/* Stop the LwM2M engine. */
			state_trigger_and_unlock(START);
			lwm2m_rd_client_stop(&client, rd_client_event, false);

			/* Set network state to start for blocking LTE */
			if (reconnect) {
				reconnect = false;

				LOG_INF("LwM2M restart requested. The sample will try to"
					" re-establish network connection.");

				/* Try to reconnect to the network. */
				ret = lte_lc_offline();
				if (ret < 0) {
					LOG_ERR("Failed to put LTE link in offline state (%d)",
						ret);
				}
				modem_connect();
			}
#if defined(CONFIG_APP_LWM2M_CONFORMANCE_TESTING)
			k_work_cancel_delayable(&send_periodical_work);
			send_count = 0;
#endif
			break;
		}

		/* Wait for statmachine update event */
		k_sem_take(&state_mutex, K_FOREVER);
	}

	return 0;
}
```

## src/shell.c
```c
/*
 * Copyright (c) 2024 Nordic Semiconductor ASA
 *
 * SPDX-License-Identifier: LicenseRef-Nordic-5-Clause
 */

#include <zephyr/shell/shell.h>
#include <net/lwm2m_client_utils_location.h>
#include "location_events.h"
#include "gnss_module.h"

#define HELP_CMD  "LwM2M client application commands"
#define HELP_GNSS "Trigger GNSS search"
#define HELP_GFIX "gfix [info]\nTrigger Ground Fix location request/inform"

static int cmd_gnss(const struct shell *sh, size_t argc, char **argv)
{
#if defined(CONFIG_LWM2M_CLIENT_UTILS_LOCATION_ASSIST_AGNSS) ||                                    \
	defined(CONFIG_LWM2M_CLIENT_UTILS_LOCATION_ASSIST_PGNSS)
	shell_print(sh, "Starting GNSS\n");
	start_gnss();
	return 0;
#else
	shell_print(sh, "A-GNSS not enabled\n");
	return -ENOEXEC;
#endif
}

static int cmd_gfix(const struct shell *sh, size_t argc, char **argv)
{
#if defined(CONFIG_LWM2M_CLIENT_UTILS_GROUND_FIX_OBJ_SUPPORT)
	if (argc < 2) {
		shell_print(sh, "Send cell location request\n");
		struct ground_fix_location_request_event *ground_fix_event =
			new_ground_fix_location_request_event();
		APP_EVENT_SUBMIT(ground_fix_event);
	} else if (strcmp(argv[1], "info") == 0) {
		shell_print(sh, "Send cell location inform\n");
		struct ground_fix_location_inform_event *ground_fix_event =
			new_ground_fix_location_inform_event();
		APP_EVENT_SUBMIT(ground_fix_event);
	} else {
		shell_error(sh, "Invalid param\n");
		shell_help(sh);
		return -EINVAL;
	}
	return 0;
#else
	shell_print(sh, "Ground Fix not enabled\n");
	return -ENOEXEC;
#endif
}

SHELL_STATIC_SUBCMD_SET_CREATE(sub_app,
			       SHELL_COND_CMD_ARG(CONFIG_LWM2M_CLIENT_UTILS_LOCATION_ASSISTANCE,
						  gnss, NULL, HELP_GNSS, cmd_gnss, 1, 0),
			       SHELL_COND_CMD_ARG(CONFIG_LWM2M_CLIENT_UTILS_GROUND_FIX_OBJ_SUPPORT,
						  gfix, NULL, HELP_GFIX, cmd_gfix, 1, 1),
			       SHELL_SUBCMD_SET_END);
SHELL_CMD_ARG_REGISTER(app, &sub_app, HELP_CMD, NULL, 1, 0);
```
